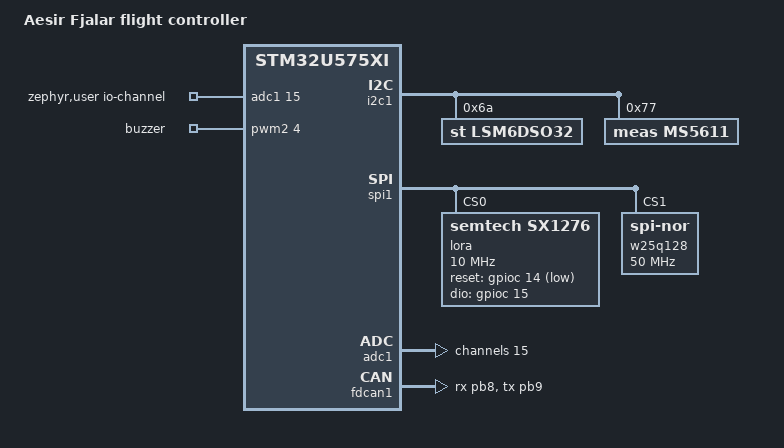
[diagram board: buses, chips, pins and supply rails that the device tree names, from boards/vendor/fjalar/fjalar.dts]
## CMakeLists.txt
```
cmake_minimum_required(VERSION 3.20.0)

set(BOARD_ROOT ${CMAKE_CURRENT_LIST_DIR})


if(TEST_BUILD)
    set(EXTRA_CONF_FILE ${CMAKE_CURRENT_LIST_DIR}/testing/preferences.conf)
else()
    set(EXTRA_CONF_FILE ${CMAKE_CURRENT_LIST_DIR}/preferences.conf)
endif()

list(APPEND EXTRA_ZEPHYR_MODULES
    ${CMAKE_CURRENT_SOURCE_DIR}/modules/dummysensor
    ${CMAKE_CURRENT_SOURCE_DIR}/modules/hilsensor
    ${CMAKE_CURRENT_SOURCE_DIR}/modules/ms5611
)

find_package(Zephyr REQUIRED HINTS $ENV{ZEPHYR_BASE})

project(fjalar)

add_subdirectory(../common ../build/common)

add_subdirectory(lib)

zephyr_include_directories(
  ${CMAKE_CURRENT_SOURCE_DIR}/src
  ${CMAKE_CURRENT_SOURCE_DIR}/src/external_communication
)

# main
target_sources(app PRIVATE
    src/flight_state.c
    src/sensors.c
    src/actuation.c
    src/filter.c
    src/aerodynamics.c
    src/init.c
    src/external_communication/com_master.c
    src/external_communication/com_can.c
    src/external_communication/com_flash.c
    src/external_communication/com_lora.c
    src/external_communication/com_uart.c
    src/external_communication/com_usb.c
)

if(TEST_BUILD)
    message(STATUS "Building test")
    target_sources(app PRIVATE
        testing/test_main.c
    )
else()
    message(STATUS "Building app")
    target_sources(app PRIVATE
        src/main.c
    )
endif()


target_link_libraries(app PRIVATE protocol)
target_link_libraries(app PRIVATE minmea)
```

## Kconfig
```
menu "Zephyr"
source "Kconfig.zephyr"
endmenu



# module = APP_SENSORS
# module-str = app_sensors
# source "subsys/logging/Kconfig.template.log_config"
```

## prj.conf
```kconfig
# CONFIG_THREAD_ANALYZER=y
# CONFIG_THREAD_ANALYZER_USE_PRINTK=y
# CONFIG_THREAD_NAME=y
# CONFIG_THREAD_ANALYZER_AUTO=y
# CONFIG_THREAD_ANALYZER_AUTO_INTERVAL=5

# --- Core console ---
CONFIG_CONSOLE=n
CONFIG_UART_CONSOLE=n
CONFIG_PRINTK=n

# --- Shell ---
CONFIG_SHELL=y
CONFIG_SHELL_BACKEND_SERIAL=y
CONFIG_SHELL_STACK_SIZE=4096

# --- Logging ---
CONFIG_LOG=n # when you don't want messages in picocom
CONFIG_LOG_DEFAULT_LEVEL=0
CONFIG_LOG_MODE_DEFERRED=y
CONFIG_LOG_BUFFER_SIZE=4096
CONFIG_LOG_BACKEND_UART=n     # ✅ REQUIRED
#CONFIG_LOG_BACKEND_USB_CDC_ACM=n not available for this version

# --- USB CDC ACM ---
CONFIG_USB_DEVICE_STACK=y
CONFIG_USB_CDC_ACM=y
CONFIG_USB_DEVICE_INITIALIZE_AT_BOOT=y
CONFIG_USB_DEVICE_LOG_LEVEL_OFF=y

# --- Recommended ---
CONFIG_SERIAL=y
CONFIG_UART_INTERRUPT_DRIVEN=y

CONFIG_ZSL=y
CONFIG_ZSL_SINGLE_PRECISION=y
CONFIG_ZSL_VECTOR_INLINE=y
CONFIG_ZSL_MATRIX_INLINE=y

CONFIG_DEBUG=y
CONFIG_DEBUG_OPTIMIZATIONS=y

CONFIG_ISR_STACK_SIZE=4096

CONFIG_CAN=y
CONFIG_CAN_FD_MODE=y

CONFIG_ZBUS=y
CONFIG_ZBUS_MSG_SUBSCRIBER=y

# I do not like heaps but idk
CONFIG_ZBUS_MSG_SUBSCRIBER_BUF_ALLOC_STATIC=y
CONFIG_ZBUS_MSG_SUBSCRIBER_NET_BUF_POOL_SIZE=32
CONFIG_ZBUS_MSG_SUBSCRIBER_NET_BUF_STATIC_DATA_SIZE=128

CONFIG_CRC=y

CONFIG_CPP=y

CONFIG_REQUIRES_FULL_LIBCPP=y

CONFIG_COMPILER_OPT="-Wno-double-promotion"

CONFIG_FLASH=y
CONFIG_FLASH_MAP=y
CONFIG_NVS=y
```

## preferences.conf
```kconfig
#CONFIG_BUZZER_ENABLED=n

#CONFIG_PROTOCOL_LOG_LEVEL_INF=y
#CONFIG_MINMEA_LOG_LEVEL_INF=y
#CONFIG_APP_ACTUATION_LOG_LEVEL_INF=y
#CONFIG_APP_FILTER_LOG_LEVEL_INF=y
#CONFIG_APP_FLIGHT_LOG_LEVEL_INF=y
#CONFIG_APP_MAIN_LOG_LEVEL_INF=y
#CONFIG_APP_SENSORS_LOG_LEVEL_INF=y
#CONFIG_APP_COMMUNICATION_LOG_LEVEL_INF=y
#CONFIG_APP_COMMANDS_LOG_LEVEL_INF=y
#CONFIG_APP_AERODYNAMICS_LOG_LEVEL_INF=y

#CONFIG_DUMMYSENSOR_AESIR=n
#CONFIG_DUMMYSENSOR_ASAT=y
#CONFIG_DUMMYSENSOR_ASTG=y
#CONFIG_DUMMYSENSOR_BRISTOL=y
#CONFIG_DUMMYSENSOR_FARADAY=y
#CONFIG_DUMMYSENSOR_RED=y
```

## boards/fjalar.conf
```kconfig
CONFIG_LOG=y
CONFIG_CBPRINTF_FP_SUPPORT=y

CONFIG_FPU=y
CONFIG_FPU_SHARING=y

CONFIG_SERIAL=y
# CONFIG_UART_INTERRUPT_DRIVEN=y
CONFIG_UART_WIDE_DATA=y
CONFIG_CONSOLE=y
CONFIG_UART_CONSOLE=y
CONFIG_POLL=y

CONFIG_I2C=y

CONFIG_GPIO=y

CONFIG_ADC=y

CONFIG_SENSOR=y
CONFIG_MS5611=y
# CONFIG_MS5607=y
# CONFIG_MS5607_PRES_OVER_2048X=y
# CONFIG_MS5607_TEMP_OVER_2048X=y

CONFIG_LSM6DSO=y

CONFIG_SPI=y
CONFIG_FLASH=y

CONFIG_PWM=y
CONFIG_LED=y

CONFIG_LORA=y
CONFIG_LORA_SX127X=y
CONFIG_LORA_LOG_LEVEL_DBG=y

CONFIG_NEWLIB_LIBC=y # for trigonometric functions

#CONFIG_BOOT_STATE_IDLE=y
#CONFIG_DELAYED_START=y

CONFIG_SENSOR=y

CONFIG_USB_DEVICE_STACK=y
CONFIG_USB_DEVICE_PRODUCT="Fjalar Log"
CONFIG_USB_DEVICE_PID=0x0004
CONFIG_USB_DEVICE_INITIALIZE_AT_BOOT=y
```

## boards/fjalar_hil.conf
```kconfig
CONFIG_LOG=y
CONFIG_CBPRINTF_FP_SUPPORT=y

CONFIG_FPU=y
CONFIG_FPU_SHARING=y

CONFIG_SERIAL=y
# CONFIG_UART_INTERRUPT_DRIVEN=y
CONFIG_UART_WIDE_DATA=y
CONFIG_CONSOLE=y
CONFIG_UART_CONSOLE=y
CONFIG_POLL=y

CONFIG_I2C=y

CONFIG_GPIO=y

CONFIG_ADC=y


CONFIG_SENSOR=y
CONFIG_HILSENSOR=y # enable hil

CONFIG_SPI=y
CONFIG_FLASH=y

CONFIG_PWM=y
CONFIG_LED=y

CONFIG_LORA=y
CONFIG_LORA_SX127X=y
CONFIG_LORA_LOG_LEVEL_DBG=y

CONFIG_NEWLIB_LIBC=y # for trigonometric functions

CONFIG_BOOT_STATE_IDLE=y
CONFIG_DELAYED_START=y

CONFIG_SENSOR=y

CONFIG_USB_DEVICE_STACK=y
CONFIG_USB_DEVICE_PRODUCT="Fjalar Log"
CONFIG_USB_DEVICE_PID=0x0004
CONFIG_USB_DEVICE_INITIALIZE_AT_BOOT=y
```

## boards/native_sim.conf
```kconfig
CONFIG_LOG=y
CONFIG_CBPRINTF_FP_SUPPORT=y

CONFIG_SERIAL=y
CONFIG_CONSOLE=y
CONFIG_UART_CONSOLE=y
CONFIG_POLL=y

CONFIG_GPIO=y

CONFIG_I2C=y

CONFIG_SENSOR=y

CONFIG_SPI=y
CONFIG_FLASH=y

CONFIG_DUMMYSENSOR=y
CONFIG_HILSENSOR=y
# CONFIG_PWM=y

CONFIG_UART_NATIVE_POSIX=y
CONFIG_UART_NATIVE_POSIX_PORT_1_ENABLE=y
# CONFIG_NATIVE_UART_1_ON_OWN_PTY=y

# CONFIG_NATIVE_UART_0_ON_OWN_PTY=y
# CONFIG_NATIVE_UART_0_ON_STDINOUT=y
CONFIG_SYS_CLOCK_TICKS_PER_SEC=1000

CONFIG_DEBUG=y
CONFIG_DEBUG_OPTIMIZATIONS=y

CONFIG_BOOT_STATE_LAUNCHPAD=y
# CONFIG_FUSE_FS_ACCESS=y

CONFIG_DELAYED_START=n

CONFIG_USB_DEVICE_STACK=y
CONFIG_USB_DEVICE_PRODUCT="Fjalar Log"
CONFIG_USB_DEVICE_PID=0x0004

CONFIG_FLASH_SIMULATOR=y

CONFIG_ASAN=y
CONFIG_UBSAN=y
```

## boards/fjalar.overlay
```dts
/ {
    chosen {
        zephyr,console = &cdc_acm_uart0;
        zephyr,shell-uart = &cdc_acm_uart0;
    };

    aliases {
		io-led = &ioled;
        imu = &lsm6dso32;
        barometer = &ms5611;
		main-usb = &usbotg_fs;
		pyro1 = &pyro1;
		pyro2 = &pyro2;
		pyro3 = &pyro3;
		pyro1-sense = &pyro1_sense;
		pyro2-sense = &pyro2_sense;
		pyro3-sense = &pyro3_sense;
        data-usb = &cdc_acm_uart1;
    };
};


&lsm6dso32 {
    gyro-odr = <4>; //104Hz
    accel-odr = <4>; //104Hz
    accel-range = <1>; //16g
    gyro-range = <6>; //2000dps
    accel-pm = <0>; //high performance
    gyro-pm = <0>; //high performance
};


&usbotg_fs {
    cdc_acm_uart0: cdc_acm_uart0 {
        compatible = "zephyr,cdc-acm-uart";
    };
    cdc_acm_uart1: cdc_acm_uart1 {
        compatible = "zephyr,cdc-acm-uart";
    };
};
```

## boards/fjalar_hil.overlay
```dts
/ {
    chosen {
    };

    aliases {
        //imu = &hilsensor0;
        //barometer = &hilsensor0;
        hilsensor = &hilsensor0; // no function
    };

    hilsensor0: hilsensor0 {
    compatible = "aesir,hilsensor";
    status = "okay";
    };
};
```

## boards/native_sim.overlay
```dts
/ {
    chosen {
        // zephyr,console = &uart0;
		// zephyr,shell-uart = &uart0;
    };
    aliases {
        imu = &dummysensor;
        barometer = &dummysensor;
        external-uart = &uart1;
        io-led = &ioled;
        main-usb = &zephyr_udc0;
        pyro1 = &pyro1;
        pyro2 = &pyro2;
        pyro3 = &pyro3;
        pyro1-sense = &pyro1_sense;
        pyro2-sense = &pyro2_sense;
        pyro3-sense = &pyro3_sense;
        // data-flash = &flashsim;
    };

    dummysensor: dummysensor {
        compatible = "aesir,hilsensor";
        status = "okay";
    };

    leds {
		compatible = "gpio-leds";
		ioled: io_led {
			gpios = <&gpio0 6 GPIO_ACTIVE_HIGH>;
		};
	};

    pyros {
        compatible = "gpio-leds";
        pyro1: pyro_1 {
            gpios = <&gpio0 13 GPIO_ACTIVE_HIGH>;
        };
        pyro2: pyro_2 {
            gpios = <&gpio0 12 GPIO_ACTIVE_HIGH>;
        };
        pyro3: pyro_3 {
            gpios = <&gpio0 2 GPIO_ACTIVE_HIGH>;
        };
    };

	pyro_sense {
		compatible = "gpio-keys";
		pyro1_sense: pyro1_sense {
			gpios = <&gpio0 8 GPIO_ACTIVE_LOW>;
		};
		pyro2_sense: pyro2_sense {
			gpios = <&gpio0 15 GPIO_ACTIVE_LOW>;
		};
		pyro3_sense: pyro3_sense {
			gpios = <&gpio0 2 GPIO_ACTIVE_LOW>;
		};
	};

    // flashsim: flashsim {
	// 	status = "okay";
	// 	compatible = "zephyr,sim-flash";
    //     erase-value = <0xff>;
	// 	// size = <0x8000000>;
	// };
};

&uart1 {
    status="okay";
};
```

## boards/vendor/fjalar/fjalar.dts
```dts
/dts-v1/;

#include <st/u5/stm32u575Xi.dtsi>
#include <st/u5/stm32u575zitxq-pinctrl.dtsi>
#include "fjalar.dtsi"

/ {

    model = "Aesir Fjalar flight controller";
	compatible = "aesir,fjalar";

	#address-cells = <1>;
	#size-cells = <1>;

	chosen {
		zephyr,console = &uart4;
		zephyr,shell-uart = &uart4;
		zephyr,sram = &sram0;
		zephyr,flash = &flash0;
		zephyr,canbus = &fdcan1;
	};

    aliases {
		led0 = &ioled;
		external-uart = &uart4;
		data-flash = &w25q128;
		gps-uart = &usart1;
		buzzer = &buzzer;
		lora = &lora;
		canbus = &fdcan1;
	};

	zephyr,user {
		battery-denominator = <2200>;
		battery-numerator = <12200>;
		io-channels = <&adc1 15>;
	};

	pwmleds: pwmleds {
		compatible = "pwm-leds";
		status = "okay";

		buzzer: buzzer {
			pwms = <&pwm2 4 PWM_MSEC(20) PWM_POLARITY_NORMAL>;
		};
	};
};

&i2c1 {
	lsm6dso32: lsm6dso32@6a {
		status = "okay";
		compatible = "st,lsm6dso32";
		reg = <0x6a>;
	};

	ms5611: ms5611@77 {
		status = "okay";
		compatible = "meas,ms5611";
		reg = <0x77>;
	};
};

&spi1 {
	lora: lora@0 {
		compatible ="semtech,sx1276";
		reg = <0>;
		spi-max-frequency = <10000000>;
		status = "okay";
		reset-gpios = <&gpioc 14 GPIO_ACTIVE_LOW>;
		dio-gpios = <&gpioc 15 GPIO_ACTIVE_HIGH>;
		power-amplifier-output = "pa-boost";
	};

	w25q128: w25q128@1 {
		compatible ="jedec,spi-nor";
		size = <0x8000000>;
		reg = <1>;
		spi-max-frequency = <50000000>;
		status = "okay";
		jedec-id = [ef 70 18];
	};
};

&adc1 {
	#address-cells = <1>;
	#size-cells = <0>;
	status = "okay";
	st,adc-prescaler = <1>;

	channel@F {
		reg = <15>; //15
		zephyr,gain = "ADC_GAIN_1";
		zephyr,reference = "ADC_REF_INTERNAL";
		zephyr,acquisition-time = <ADC_ACQ_TIME_DEFAULT>;
		zephyr,resolution = <14>;
		zephyr,oversampling = <4>;
		status = "okay";
	};
};

&fdcan1 {
    status = "okay";
    pinctrl-0 = <&fdcan1_rx_pb8 &fdcan1_tx_pb9>;
    pinctrl-names = "default"; 
    clocks      = <
        &rcc STM32_CLOCK_BUS_APB1_2  0x00000200
        &rcc STM32_SRC_PLL1_Q        FDCAN1_SEL(1)
    >;
    clock-names = "apb1", "fck";
};
```

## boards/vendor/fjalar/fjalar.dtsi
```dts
#include <st/u5/stm32u575Xi.dtsi>
#include <st/u5/stm32u575zitxq-pinctrl.dtsi>

/ {
	leds {
		compatible = "gpio-leds";
		ioled: io_led {
			gpios = <&gpioa 6 GPIO_ACTIVE_HIGH>;
		};
	};

    pyros {
        compatible = "gpio-leds";
        pyro1: pyro_1 {
            gpios = <&gpiob 2 GPIO_ACTIVE_HIGH>;
        };
        pyro2: pyro_2 {
            gpios = <&gpiob 12 GPIO_ACTIVE_HIGH>;
        };
        pyro3: pyro_3 {
            gpios = <&gpiob 13 GPIO_ACTIVE_HIGH>;
        };
    };

	pyro_sense {
		compatible = "gpio-keys";
		pyro1_sense: pyro1_sense {
			gpios = <&gpioa 2 GPIO_ACTIVE_LOW>;
		};
		pyro2_sense: pyro2_sense {
			gpios = <&gpiob 15 GPIO_ACTIVE_LOW>;
		};
		pyro3_sense: pyro3_sense {
			gpios = <&gpioa 8 GPIO_ACTIVE_LOW>;
		};
	};
};

&usbotg_fs {
	pinctrl-0 = <&usb_otg_fs_dm_pa11 &usb_otg_fs_dp_pa12>;
	pinctrl-names = "default";
	status = "okay";
};

&usart1 {
	pinctrl-0 = <&usart1_tx_pa9 &usart1_rx_pa10>;
	pinctrl-names = "default";
	current-speed = <9600>;
	status = "okay";
};

&gpdma1 {
	status = "okay";
};

&clk_hse {
	status = "okay";
	clock-frequency = <DT_FREQ_M(48)>;
};

&clk_hsi48 {
	status = "okay";
};

&clk_lse {
	status = "disabled";
};

&clk_msis {
	status = "okay";
	msi-range = <4>;
	msi-pll-mode;
};

&pll1 {
	div-m = <3>;
	mul-n = <10>;
	div-r = <1>;
	div-q = <2>;
	clocks = <&clk_hse>;
	status = "okay";
};

&rcc {
	clocks = <&pll1>;
	clock-frequency = <DT_FREQ_M(160)>;
	ahb-prescaler = <1>;
	apb1-prescaler = <1>;
	apb2-prescaler = <1>;
	apb3-prescaler = <1>;
};

&uart4 {
    pinctrl-0 = <&uart4_tx_pa0 &uart4_rx_pa1>;
	pinctrl-names = "default";
	current-speed = <115200>;
	status = "okay";
};

&i2c1 {
	pinctrl-0 = <&i2c1_scl_pb6 &i2c1_sda_pb7>;
	pinctrl-names = "default";
	status = "okay";
	clock-frequency = <I2C_BITRATE_FAST>;
};

&i2c2 {
	pinctrl-0 = <&i2c2_scl_pb10 &i2c2_sda_pb14>;
	pinctrl-names = "default";
	status = "okay";
	clock-frequency = <I2C_BITRATE_FAST>;
};

&spi1 {
	pinctrl-0 = <&spi1_sck_pb3
			&spi1_miso_pb4 &spi1_mosi_pb5>;
	pinctrl-names = "default";
	cs-gpios = <&gpioc 13 GPIO_ACTIVE_LOW>, <&gpioa 15 GPIO_ACTIVE_LOW>;
	clock-frequency = <50000000>;
	status = "okay";
};

&adc1 {
	pinctrl-0 = <&adc1_in15_pb0>;
	pinctrl-names = "default";
};

&timers2 {
	st,prescaler = <1000>;
	status = "okay";

	pwm2: pwm {
		status = "okay";
		pinctrl-0 = <&tim2_ch4_pa3>;
		pinctrl-names = "default";
	};
};

&iwdg {
	status = "okay";
};

&rng {
	status = "okay";
};

&fdcan1 {
	clocks = <&rcc STM32_CLOCK_BUS_APB1_2 0x00000200>,
		 <&rcc STM32_SRC_PLL1_Q FDCAN1_SEL(1)>;
	pinctrl-0 = <&fdcan1_rx_pb8 &fdcan1_tx_pb9>;
	pinctrl-names = "default";
	status = "okay";
};
```

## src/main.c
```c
/*
This is the main script, its purpose is to:
1) Declare the structures which will be used to store information throughout the script.
2) Initiate the different scripts by starting their threads and distributing their structure pointers through the god struct (fjalar).
*/

#include <zephyr/kernel.h>
#include <zephyr/drivers/gpio.h>
#include <zephyr/drivers/uart.h>
#include <zephyr/logging/log.h>
#include <zephyr/drivers/sensor.h>
#include <stdio.h>
#include <math.h>

#include "fjalar.h"
#include "sensors.h"
#include "flight_state.h"
#include "com_master.h"
#include "actuation.h"
#include "init.h"
#include "aerodynamics.h"
#include "flight_state.h"
#include "com_can.h"
#include "com_lora.h"

LOG_MODULE_REGISTER(main, LOG_LEVEL_INF);

static init_t            init_obj;
static position_filter_t position_filter_obj;
static attitude_filter_t attitude_filter_obj;
static aerodynamics_t    aerodynamics_obj;
static state_t           state_obj; 
//static control_t		 control_obj; //Delete
static state_t           state_obj;  
static can_t			 can_obj;
static lora_t			 lora_obj;

fjalar_t fjalar_god = {
	.ptr_init         = &init_obj,
	.ptr_pos_kf       = &position_filter_obj,
	.ptr_att_kf       = &attitude_filter_obj,
	.ptr_aerodynamics = &aerodynamics_obj,
	.ptr_state        = &state_obj,
	//.ptr_control	  = &control_obj, //Delete
	.ptr_can	      = &can_obj,
	.ptr_lora		  = &lora_obj,
};

int main(void) {
	#ifdef CONFIG_DELAYED_START
	const int delay = 5;
	for (int i = 0; i < delay; i++) {
		printk("%d\n", delay - i);
		k_msleep(1000);
	}
	#endif
	printk("Started\n");

	fjalar_god.sudo = false;
	init_flight_state(&fjalar_god);
	init_communication(&fjalar_god);
	init_actuation(&fjalar_god);
	init_can(&fjalar_god);
	return 0;
}
```

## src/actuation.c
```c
/*
This is the actuation script, its purpose is to:
1) Control hardware such as buzzer and led. One can, if he has the humour for it, play a little song on Fjalar.
*/
#include <zephyr/kernel.h>
#include <zephyr/logging/log.h>
#include <zephyr/drivers/gpio.h>
#include <zephyr/drivers/pwm.h>
#include <math.h>
#include <stdlib.h>

#include "fjalar.h"
#include "melodies.h"
#include "flight_state.h"

LOG_MODULE_REGISTER(actuation, LOG_LEVEL_INF); //Logging

#define LED_THREAD_PRIORITY 7
#define LED_THREAD_STACK_SIZE 2048

#define BUZZER_THREAD_PRIORITY 7
#define BUZZER_THREAD_STACK_SIZE 2048

#define PYRO_THREAD_PRIORITY 7
#define PYRO_THREAD_STACK_SIZE 2048

K_THREAD_STACK_DEFINE(led_thread_stack, LED_THREAD_STACK_SIZE);
struct k_thread led_thread_data;
k_tid_t led_thread_id;
void led_thread(fjalar_t *fjalar, void *, void *);

K_THREAD_STACK_DEFINE(buzzer_thread_stack, BUZZER_THREAD_STACK_SIZE);
struct k_thread buzzer_thread_data;
k_tid_t buzzer_thread_id;
void buzzer_thread(fjalar_t *fjalar, state_t *state, void *);

K_THREAD_STACK_DEFINE(pyro_thread_stack, PYRO_THREAD_STACK_SIZE);
struct k_thread pyro_thread_data;
k_tid_t pyro_thread_id;
void pyro_thread(fjalar_t *fjalar, void *, void *);

volatile bool terminate_actuation =false;

void init_actuation(fjalar_t *fjalar) {
    terminate_actuation = false;
    led_thread_id = k_thread_create(
		&led_thread_data,
		led_thread_stack,
		K_THREAD_STACK_SIZEOF(led_thread_stack),
		(k_thread_entry_t) led_thread,
		fjalar, NULL, NULL,
		LED_THREAD_PRIORITY, 0, K_NO_WAIT
	);
	k_thread_name_set(led_thread_id, "led");

    pyro_thread_id = k_thread_create(
		&pyro_thread_data,
		pyro_thread_stack,
		K_THREAD_STACK_SIZEOF(pyro_thread_stack),
		(k_thread_entry_t) pyro_thread,
		fjalar, NULL, NULL,
		PYRO_THREAD_PRIORITY, 0, K_NO_WAIT
	);
	k_thread_name_set(pyro_thread_id, "pyro");

	#if DT_ALIAS_EXISTS(buzzer)
    buzzer_thread_id = k_thread_create(
		&buzzer_thread_data,
		buzzer_thread_stack,
		K_THREAD_STACK_SIZEOF(buzzer_thread_stack),
		(k_thread_entry_t) buzzer_thread,
		fjalar, fjalar->ptr_state, NULL,
		BUZZER_THREAD_PRIORITY, 0, K_NO_WAIT
	);
	k_thread_name_set(buzzer_thread_id, "buzzer");
	#endif
}

int deinit_actuation() {
    terminate_actuation = true;
    int e;
    e = k_thread_join(&led_thread_data, K_MSEC(1000));
    e |= k_thread_join(&pyro_thread_data, K_MSEC(1000));
    e |= k_thread_join(&buzzer_thread_data, K_MSEC(1000));
}

void led_thread(fjalar_t *fjalar, void *p2, void *p3) {
    const struct gpio_dt_spec io_led_dt = GPIO_DT_SPEC_GET(DT_ALIAS(io_led), gpios);
    int ret = 0;
    ret |= gpio_pin_configure_dt(&io_led_dt, GPIO_OUTPUT_ACTIVE);
    if (ret) {
        LOG_ERR("Could not configure the IO-led");
    }

    while (true) {
        gpio_pin_toggle_dt(&io_led_dt);
        k_msleep(1000);
    }
}

void set_pyro(fjalar_t *fjalar, int pyro, bool state) {
    switch (pyro) {
        case 1: // Drouge parachute
            const struct gpio_dt_spec pyro1_dt = GPIO_DT_SPEC_GET(DT_ALIAS(pyro1), gpios);
            gpio_pin_set_dt(&pyro1_dt, state);
            break;

        case 2: // Main parachute
            const struct gpio_dt_spec pyro2_dt = GPIO_DT_SPEC_GET(DT_ALIAS(pyro2), gpios);
            gpio_pin_set_dt(&pyro2_dt, state);
            break;

        case 3:
            const struct gpio_dt_spec pyro3_dt = GPIO_DT_SPEC_GET(DT_ALIAS(pyro3), gpios);
            gpio_pin_set_dt(&pyro3_dt, state);
            break;
        default:
            LOG_ERR("tried to enable invalid pyro %d", pyro);
    }
}

void pyro_thread(fjalar_t *fjalar, void *p2, void *p3) {
    const struct gpio_dt_spec pyro1_dt = GPIO_DT_SPEC_GET(DT_ALIAS(pyro1), gpios);
    const struct gpio_dt_spec pyro2_dt = GPIO_DT_SPEC_GET(DT_ALIAS(pyro2), gpios);
    const struct gpio_dt_spec pyro3_dt = GPIO_DT_SPEC_GET(DT_ALIAS(pyro3), gpios);
    const struct gpio_dt_spec pyro1_sense_dt = GPIO_DT_SPEC_GET(DT_ALIAS(pyro1_sense), gpios);
    const struct gpio_dt_spec pyro2_sense_dt = GPIO_DT_SPEC_GET(DT_ALIAS(pyro2_sense), gpios);
    const struct gpio_dt_spec pyro3_sense_dt = GPIO_DT_SPEC_GET(DT_ALIAS(pyro3_sense), gpios);

    int ret = 0;
    ret |= gpio_pin_set_dt(&pyro1_dt, 0);
    ret |= gpio_pin_set_dt(&pyro2_dt, 0);
    ret |= gpio_pin_set_dt(&pyro3_dt, 0);
    ret |= gpio_pin_configure_dt(&pyro1_dt, GPIO_OUTPUT_INACTIVE); // dangerous (ACTIVE), i switched it to inactive
    ret |= gpio_pin_configure_dt(&pyro2_dt, GPIO_OUTPUT_INACTIVE); // dangerous (ACTIVE)?
    ret |= gpio_pin_configure_dt(&pyro3_dt, GPIO_OUTPUT_INACTIVE); // dangerous (ACTIVE)?
    ret |= gpio_pin_set_dt(&pyro1_dt, 0);
    ret |= gpio_pin_set_dt(&pyro2_dt, 0);
    ret |= gpio_pin_set_dt(&pyro3_dt, 0);

    ret |= gpio_pin_configure_dt(&pyro1_sense_dt, GPIO_INPUT);
    ret |= gpio_pin_configure_dt(&pyro2_sense_dt, GPIO_INPUT);
    ret |= gpio_pin_configure_dt(&pyro3_sense_dt, GPIO_INPUT);
    if (ret) {
        LOG_ERR("Could not configure pyro pins");
    }

    while (true) {
        fjalar->pyro1_sense = gpio_pin_get_dt(&pyro1_sense_dt);
        fjalar->pyro2_sense = gpio_pin_get_dt(&pyro2_sense_dt);
        fjalar->pyro3_sense = gpio_pin_get_dt(&pyro3_sense_dt);
        LOG_INF("pyros connected p1:%d p2:%d p3:%d", fjalar->pyro1_sense, fjalar->pyro2_sense, fjalar->pyro3_sense);
        k_msleep(500);
    }
}


void play_song(const struct pwm_dt_spec *buzzer_dt, int melody[], int size, int tempo) {
        int notes=size/sizeof(melody[0])/2;
        int wholenote = (60000 * 4) / tempo;

        int divider = 0, noteDuration = 0;

        for (int thisNote = 0; thisNote < notes * 2; thisNote = thisNote + 2) {
            divider = melody[thisNote + 1];
            if (divider > 0) {
            noteDuration = (wholenote) / divider;
            } else if (divider < 0) {
            noteDuration = (wholenote) / abs(divider);
            noteDuration *= 1.5; // increases the duration in half for dotted notes
            }

            int period = 1e9 / melody[thisNote];
            pwm_set_dt(buzzer_dt, period, period / 2);
            k_msleep(noteDuration * 0.9);
            pwm_set_dt(buzzer_dt, period, 0);
            k_msleep(noteDuration * 0.1);
        }
        k_msleep(1000);
}

#if DT_ALIAS_EXISTS(buzzer)
void buzzer_thread(fjalar_t *fjalar, state_t *state, void *p3) {
    #if !CONFIG_BUZZER_ENABLED
    LOG_INF("Buzzer disabled");
    return;
    #endif
    int err;
    const struct pwm_dt_spec buzzer_dt = PWM_DT_SPEC_GET(DT_ALIAS(buzzer));
    if (!device_is_ready(buzzer_dt.dev)) {
        LOG_ERR("buzzer is not ready");
        return;
    }

    uint32_t center_period = 1e9 / 2000;
    err = pwm_set_dt(&buzzer_dt, center_period, 0);
    if (err) {
        LOG_ERR("Could not set buzzer");
    }

    while (true) {
        if (fjalar->sudo) {
                play_song(&buzzer_dt, doom_melody, sizeof(doom_melody), doom_tempo);
                k_msleep(1000);
                continue;
        }
        switch (state->flight_state) {
            case STATE_LANDED:
                play_song(&buzzer_dt, nokia_melody, sizeof(nokia_melody), nokia_tempo);
                k_msleep(1000);
                break;

            case STATE_IDLE:
                play_song(&buzzer_dt, greensleeves_melody, sizeof(greensleeves_melody), greensleeves_tempo);
                k_msleep(1000);
                break;

            case STATE_INITIATED:
                play_song(&buzzer_dt, keyboardcat_melody, sizeof(keyboardcat_melody), keyboardcat_tempo);
                k_msleep(1000);
                break;

            default:
                err = pwm_set_dt(&buzzer_dt, center_period, center_period / 2);
                k_msleep(100);
                err = pwm_set_dt(&buzzer_dt, center_period, 0);
                k_msleep(100);
                err = pwm_set_dt(&buzzer_dt, center_period, center_period / 2);
                k_msleep(100);
                err = pwm_set_dt(&buzzer_dt, center_period, 0);
                k_msleep(1500);
        }
    }
}
#endif
```

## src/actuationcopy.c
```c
//Change drogue state to reefed state. Deploy the main (the only parachute)
//at some specific altitude, e.g., 500 m.  
//Replace DROGUE_DESCENT with REEFED_DESCENT and switch the order of main and reefed. 
   /* ------------------------------ STATE_COAST -------------------------- */
    case STATE_COAST:
        /*
        Detect apogee: upward velocity transitions to negative.
        This is the most reliable trigger for drogue deployment.
        */
        if (vz < 0) {
            state->apogee_time = k_uptime_get_32();
            deploy_main(fjalar, init, state, pos_kf);
            state->flight_state = STATE_MAIN_DESCENT;
            state->event_apogee = true;

            LOG_WRN("State: COAST → MAIN_DESCENT (apogee detected)");
        }
        break;

    /* --------------------------- STATE_DROGUE_DESCENT -------------------- */
    case STATE_MAIN_DESCENT:
        /*
        Deploy main parachute at a safe altitude threshold.
        */
        if (z < 500) {
            deploy_reefing(fjalar, init, state, pos_kf);
            state->flight_state = STATE_REEFED_DESCENT;
            LOG_WRN("State: MAIN_DESCENT → REEFED_DESCENT (500 m AGL)");
        }
        break;

    /* --------------------------- STATE_MAIN_DESCENT ---------------------- */
    case STATE_REEFED_DESCENT:
        /*
        Detect landing by checking if acceleration ~ 1 g and movement is minimal.
        This is approximate but usually reliable with filtered acceleration.
        */
        if (a_norm > init->g_accelerometer - 2 &&
            a_norm < init->g_accelerometer + 2)
        {
            state->flight_state = STATE_LANDED;
            state->event_landed = true;
            LOG_WRN("State: REEFED_DESCENT → LANDED (acceleration stable ~1g)");
        }
        break;




    static void deploy_main(fjalar_t *fjalar, init_t *init, state_t *state, position_filter_t *pos_kf) {
    set_pyro(fjalar, 2, true);  // 2 = main chute pyro channel
    LOG_WRN("Constricted parachute deployed at %.2f m", pos_kf->X_data[2]);

    //Must change the deploy_drogue function to deploy_reefing
    static void deploy_reefing(fjalar_t *fjalar, init_t *init, state_t *state, position_filter_t *pos_kf) { 
    set_pyro(fjalar, 1, true);  // 1 = drogue chute pyro channel
    LOG_WRN("Full parachute deployed at %.2f m %.2f s",
            pos_kf->X_data[2],                                  // altitude
            (state->apogee_time - state->liftoff_time) / 1000.0f);
}












//Option 1: Deploy main at apogee. This requires STATE_DROGUE_DESCENT to be remove in flight_state.h
/* ------------------------------ STATE_COAST -------------------------- */
    case STATE_COAST:
        /*
        Detect apogee: upward velocity transitions to negative.
        This is the most reliable trigger for drogue deployment.
        */
        if (vz < 0) {
            state->apogee_time = k_uptime_get_32();
            deploy_main(fjalar, init, state, pos_kf);
            state->flight_state = STATE_MAIN_DESCENT;
            state->event_apogee = true;

            LOG_WRN("State: COAST → MAIN_DESCENT (apogee detected)");
        }
        break;

    /* --------------------------- STATE_MAIN_DESCENT ---------------------- */
    case STATE_MAIN_DESCENT:
        /*
        Detect landing by checking if acceleration ~ 1 g and movement is minimal.
        This is approximate but usually reliable with filtered acceleration.
        */
        if (a_norm > init->g_accelerometer - 2 &&
            a_norm < init->g_accelerometer + 2)
        {
            state->flight_state = STATE_LANDED;
            state->event_landed = true;
            LOG_WRN("State: MAIN_DESCENT → LANDED (acceleration stable ~1g)");
        }
        break;

//Option 2: Keep drogue state. Just remove parachute deployment. Deploy the main (the only parachute)
//at some specific altitude, e.g., 500 m.  
   /* ------------------------------ STATE_COAST -------------------------- */
    case STATE_COAST:
        /*
        Detect apogee: upward velocity transitions to negative.
        This is the most reliable trigger for drogue deployment.
        */
        if (vz < 0) {
            state->apogee_time = k_uptime_get_32();
            state->flight_state = STATE_DROGUE_DESCENT;
            state->event_apogee = true;

            LOG_WRN("State: COAST → DROGUE_DESCENT (apogee detected)");
        }
        break;

    /* --------------------------- STATE_DROGUE_DESCENT -------------------- */
    case STATE_DROGUE_DESCENT:
        /*
        Deploy main parachute at a safe altitude threshold.
        */
        if (z < 500) {
            deploy_main(fjalar, init, state, pos_kf);
            state->flight_state = STATE_MAIN_DESCENT;
            LOG_WRN("State: DROGUE_DESCENT → MAIN_DESCENT (500 m AGL)");
        }
        break;

    /* --------------------------- STATE_MAIN_DESCENT ---------------------- */
    case STATE_MAIN_DESCENT:
        /*
        Detect landing by checking if acceleration ~ 1 g and movement is minimal.
        This is approximate but usually reliable with filtered acceleration.
        */
        if (a_norm > init->g_accelerometer - 2 &&
            a_norm < init->g_accelerometer + 2)
        {
            state->flight_state = STATE_LANDED;
            state->event_landed = true;
            LOG_WRN("State: MAIN_DESCENT → LANDED (acceleration stable ~1g)");
        }
        break;

//Option 3: Remove drogue state. Deploy the main (the only parachute) at some specific altitude, e.g., 500 m.
//This requires STATE_DROGUE_DESCENT to be remove in flight_state.h. 
   /* ------------------------------ STATE_COAST -------------------------- */
    case STATE_COAST:
        /*
        Detect apogee: upward velocity transitions to negative.
        This is the most reliable trigger for drogue deployment.
        */
        if (vz < 0) {
            state->apogee_time = k_uptime_get_32();
            state->event_apogee = true;
            LOG_WRN("Apogee dected");
        }


        if (vz < 0 && z < 500) {
            deploy_main(fjalar, init, state, pos_kf);
            state->flight_state = STATE_MAIN_DESCENT;
            LOG_WRN("State: COAST → MAIN_DESCENT");
        }
        break;
    /* --------------------------- STATE_MAIN_DESCENT ---------------------- */
    case STATE_MAIN_DESCENT:
        /*
        Detect landing by checking if acceleration ~ 1 g and movement is minimal.
        This is approximate but usually reliable with filtered acceleration.
        */
        if (a_norm > init->g_accelerometer - 2 &&
            a_norm < init->g_accelerometer + 2)
        {
            state->flight_state = STATE_LANDED;
            state->event_landed = true;
            LOG_WRN("State: MAIN_DESCENT → LANDED (acceleration stable ~1g)");
        }
        break;
```

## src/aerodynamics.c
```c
/*
This is the aerodynamics script, its purpose is to:
1) Given the state estimate and the flight state, perform analysis related to aerodynamics such as finding out expected apogee,
then save this in its struct to be used by other scripts.
The aerodynamic constants are rocket specific, it is critical that these are looked over carefully before each launch.
*/

#include <zephyr/kernel.h>
#include <zephyr/drivers/sensor.h>
#include <pla.h>
#include <zephyr/logging/log.h>
#include <zephyr/zbus/zbus.h>
#include <math.h>

#include "fjalar.h"
#include "sensors.h"
#include "init.h"
#include "filter.h"
#include "aerodynamics.h"
#include "flight_state.h"

LOG_MODULE_REGISTER(aerodynamics, LOG_LEVEL_INF);

#define AERODYNAMICS_THREAD_PRIORITY 7
#define AERODYNAMICS_THREAD_STACK_SIZE 4096

void aerodynamics_thread(fjalar_t *fjalar, void *p2, void *p1);
ZBUS_CHAN_DEFINE(aero_chan,                          /* Name */
                 struct aerodynamics_output_msg,     /* Message type */
                 NULL,                               /* Validator */
                 NULL,                               /* User Data */
                 ZBUS_OBS_DECLARE(),                 /* Observers (can be empty if using read) */
                 ZBUS_MSG_INIT(0)                    /* Initial Value */
);
K_THREAD_STACK_DEFINE(aerodynamics_thread_stack, AERODYNAMICS_THREAD_STACK_SIZE);
struct k_thread aerodynamics_thread_data;
k_tid_t aerodynamics_thread_id;


void init_aerodynamics(fjalar_t *fjalar) {
    aerodynamics_thread_id = k_thread_create(
		&aerodynamics_thread_data,
		aerodynamics_thread_stack,
		K_THREAD_STACK_SIZEOF(aerodynamics_thread_stack),
		(k_thread_entry_t) aerodynamics_thread,
		fjalar, NULL, NULL,
		AERODYNAMICS_THREAD_PRIORITY, 0, K_NO_WAIT
	);
	k_thread_name_set(aerodynamics_thread_id, "aerodynamics");
}


// might come in handy in future
/*
float pressure_to_AGL(position_filter_t *pos_kf, aerodynamics_t *aerodynamics, float pressure){
    const float p0 = init->pressure_ground;
    const float T0 = 288.15f;
    const float L  = 0.0065f;
    const float g = 9.81f;
    const float R = 287.05f;

    float AGL = (T0/L) * (1-powf(pressure / p0, R * L / g));
    return AGL;
}
*/

void drag_init(struct aerodynamics_output_msg *aerodynamics){
    float drag_init[3] = {0,0,0};
    memcpy(aerodynamics->drag.data, aerodynamics->drag_data, sizeof(aerodynamics->drag_data));
    aerodynamics->drag.sz_rows = 3;
    aerodynamics->drag.sz_cols = 1;
    memcpy(aerodynamics->drag_data, drag_init, sizeof(drag_init));
}

void drag_update(struct filter_output_msg *filter_data, struct aerodynamics_output_msg *aerodynamics){
    // velocity norm
    ZSL_MATRIX_DEF(v, 3, 1);
    v.data[0] = filter_data->velocity[0];
	v.data[1] = filter_data->velocity[1];
	v.data[2] = filter_data->velocity[2];
    float v_norm = filter_data->v_norm;

    if (v_norm > 1e-6f){

        // velocity unit vector
        ZSL_MATRIX_DEF(v_unit, 3, 1);
        zsl_mtx_copy(&v_unit, &v);
        zsl_mtx_scalar_mult_d(&v_unit, 1.0f/v_norm);

        // air density
        float z = filter_data->position[2];
        float rho = air_density_at(z);

        // drag coefficient
        float c_d;
        if (v_norm>5){c_d = cd_at(v_norm);} // TODO: implement angle dependent drag coeff!
        else{c_d = 0.44;}

        // rotational matrix
        float phi   = filter_data->attitude[0];  // roll
		float theta = filter_data->attitude[1];  // pitch
		float psi   = filter_data->attitude[2];  // yaw


        float sp = sinf(phi), cp = cosf(phi);
        float st = sinf(theta), ct = cosf(theta);
        float ss = sinf(psi),  cs = cosf(psi);

        float rotation_data[9] = {
            ct*cs, sp*st*cs - cp*ss, cp*st*cs + sp*ss,
            ct*ss, sp*st*ss + cp*cs, cp*st*ss - sp*cs,
            -st, sp*ct, cp*ct
        };
        struct zsl_mtx rotation = {
            .sz_rows = 3,
            .sz_cols = 3,
            .data = rotation_data
        };

        // scalar part
        float drag_norm = -(0.5/MASS_DRY)*rho*AREA*v_norm*v_norm*c_d;
        aerodynamics->drag_norm = drag_norm;

        // vector part
        ZSL_MATRIX_DEF(drag_vec, 3, 1);
        zsl_mtx_mult(&rotation, &v_unit, &drag_vec);

        // drag vector
        zsl_mtx_scalar_mult_d(&drag_vec, drag_norm);

		memcpy(aerodynamics->drag_data, drag_vec.data, sizeof(aerodynamics->drag_data));
        aerodynamics->drag.sz_rows = 3;
        aerodynamics->drag.sz_cols = 1;
    } else{
    	aerodynamics->drag_norm = 0.0f;
    	aerodynamics->drag_data[0] = aerodynamics->drag_data[1] = aerodynamics->drag_data[2] = 0.0f;
	}
}

void update_thrust(struct filter_output_msg *filter_data, struct aerodynamics_output_msg *aerodynamics, struct flight_state_output_msg state_data){ // will only be correct if run during flight, not before launch

    float N; // normal force induced acceleration
    if (state_data.flight_state == STATE_INITIATED){
        N = aerodynamics->g_physics;
    } else{N = 0;}
    float g = -(aerodynamics->g_physics); // gravitational acceleration
    float D = aerodynamics->drag_norm; // drag acceleration
    float T = 0.0f; // Thrust
    float total_acceleration = filter_data->a_norm;

    if (state_data.flight_state == STATE_INITIATED){
        T = total_acceleration - N;
    }
    if (state_data.flight_state == STATE_BOOST || state_data.flight_state == STATE_COAST){
        T = total_acceleration - g - D;
    }

    if (fabsf(T)>3){
        aerodynamics->thrust_bool = 1; // thrust exists
    } else{
        aerodynamics->thrust_bool = 0; // thrust does not exist
    }
}

void update_apogee_estimate(struct filter_output_msg *filter_data, struct aerodynamics_output_msg *aerodynamics){
    // get data 
    float dt   = 0.01;
    // float a_z0  = filter_data->acceleration[2]; unused

    float x    = filter_data->position[0];
    float y    = filter_data->position[1];
    float z    = filter_data->position[2];
    float xy   = sqrtf(x*x + y*y);

    float v_x  = filter_data->velocity[0];
    float v_y  = filter_data->velocity[1];
    float v_z  = filter_data->velocity[2];
    float v_xy = sqrtf(v_x*v_x + v_y*v_y);

    float a_xy;
    float a_z;

    while (v_z>0){
        // get info
        float v_total = sqrtf((v_xy*v_xy)+(v_z*v_z));
        float c_d;
        float a_drag;

        if (v_total>5){c_d = cd_at(v_total);} 
        else{c_d = 0.44;}

        a_drag = - (air_density_at(z)*c_d*AREA*v_total*v_total) / (2*MASS_DRY); 
        
        float c_b = air_density_at(z)*v_total*v_total / (2*fabsf(a_drag));


        a_xy  = 0.0f;
        a_z   = -GRAVITY-(air_density_at(z)*(v_z*v_z))/(2*c_b);

        v_xy += dt * a_xy;
        v_z  += dt * a_z;

        xy   += dt * v_xy;
        z    += dt * v_z;
    }
    aerodynamics->expected_apogee = z;

}

void update_mach_number(struct filter_output_msg *filter_data, struct aerodynamics_output_msg *aerodynamics){
    float v_sound = sqrtf(aerodynamics->specific_gas_constant_air * aerodynamics->heat_capacity_ratio_air * aerodynamics->temperature_kelvin);
    aerodynamics->v_sound = v_sound;

    float mach_number = (filter_data->v_norm)/v_sound;
    aerodynamics->mach_number = mach_number;
}


void aerodynamics_thread(fjalar_t *fjalar, void *p2, void *p1) {
	struct filter_output_msg filter_data;
	struct flight_state_output_msg state_data = { .flight_state = STATE_IDLE }; // Initialize with default

    // Initialize aerodynamics message with constants
    struct aerodynamics_output_msg aero_msg = {
        .timestamp = 0,
        .drag_norm = 0.0f,
        .expected_apogee = 0.0f,
        .thrust_bool = 0,
        .g_physics = 9.81f,
        .specific_gas_constant_air = 287.0f, // J/(kg*K)
        .heat_capacity_ratio_air = 1.4f,
        .temperature_kelvin = 273.15f + 15.0f,
        .mach_number = 0.0f,
        .v_sound = 0.0f
    };

    drag_init(&aero_msg);
    while (true){

		if (zbus_chan_read(&filter_output_zchan, &filter_data, K_FOREVER) == 0) {
			zbus_chan_read(&flight_state_output_zchan, &state_data, K_NO_WAIT);
    		// got new data
			aero_msg.timestamp = k_uptime_get_32();

        	update_mach_number(&filter_data, &aero_msg);

        	drag_update(&filter_data, &aero_msg); // needs to be updated at all states due to logic in update_thrust

			if (state_data.flight_state != STATE_IDLE && state_data.flight_state != STATE_AWAITING_INIT){
            	update_thrust(&filter_data, &aero_msg, state_data);
        	}
        	if (state_data.flight_state == STATE_COAST){ // only run when thrust is not active
            	update_apogee_estimate(&filter_data, &aero_msg);
        	} else{aero_msg.expected_apogee = 0.0f;}
        	// update_mach_number(&filter_data, &aero_msg);
			// After all calculations (drag_update, update_thrust, etc.)
			zbus_chan_pub(&aero_chan, &aero_msg, K_MSEC(10));
		}
        //zbus_chan_pub(&aero_chan, &aero_msg, K_MSEC(10));

        //k_msleep(10); // 100 Hz
    }
}
```

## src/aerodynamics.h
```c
#pragma once

#include <zsl/interp.h>   /* zsl_interp_lin_y_arr() */
#include "filter.h"

typedef struct fjalar fjalar_t;
typedef struct init t;
typedef struct position_filter position_filter_t;
typedef struct attitude_filter attitude_filter_t;
typedef struct state state_t;

typedef struct aerodynamics {
    zsl_real_t drag_data[3]; // acceleration, not force!
    struct zsl_mtx drag; // drag induced acceleration in local frame
    float drag_norm;
    float expected_apogee; // predicted apogee based on drag model
    bool thrust_bool; // true if there is thrust, false if no thrust.
    float g_physics;

    float temperature_kelvin;
    float specific_gas_constant_air;
    float heat_capacity_ratio_air;
    float v_sound;
    float mach_number;
} aerodynamics_t;

void init_aerodynamics(fjalar_t *fjalar);

#ifndef AERODYNAMICS_H
#define AERODYNAMICS_H

// change these values to Freyja values
#define MASS_DRY  3.5 //38 // Freyja
#define GRAVITY 9.81
#define AREA 0.00866 // 0.022 // Freyja

static const struct zsl_interp_xy cd_tbl[] = {
    {3.43, 0.445392077},
    {6.86, 0.443396227},
    {10.29, 0.429917833},
    {13.72, 0.423512584},
    {17.15, 0.420851543},
    {20.58, 0.417786495},
    {24.01, 0.414716498},
    {27.44, 0.411778402},
    {30.87, 0.409014917},
    {34.3, 0.40642762},
    {37.73, 0.404018232},
    {41.16, 0.401769047},
    {44.59, 0.399665926},
    {48.02, 0.397695141},
    {51.45, 0.395843979},
    {54.88, 0.394101055},
    {58.31, 0.392456144},
    {61.74, 0.390900263},
    {65.17, 0.389425391},
    {68.6, 0.388024502},
    {72.03, 0.386691304},
    {75.46, 0.385420273},
    {78.89, 0.38420643},
    {82.32, 0.383045391},
    {85.75, 0.381933173},
    {89.18, 0.381039561},
    {92.61, 0.380188027},
    {96.04, 0.379375709},
    {99.47, 0.378600005},
    {102.9, 0.377858488},
    {106.33, 0.377149034},
    {109.76, 0.376469684},
    {113.19, 0.375818617},
    {116.62, 0.375194204},
    {120.05, 0.374594941},
    {123.48, 0.374019381},
    {126.91, 0.373466277},
    {130.34, 0.372934425},
    {133.77, 0.372422742},
    {137.2, 0.371930191},
    {140.63, 0.371455842},
    {144.06, 0.370998799},
    {147.49, 0.370558256},
    {150.92, 0.37013344},
    {154.35, 0.36972365},
    {157.78, 0.369328181},
    {161.21, 0.368946434},
    {164.64, 0.368577814},
    {168.07, 0.368221762},
    {171.5, 0.367877794},
    {174.93, 0.367545363},
    {178.36, 0.367224045},
    {181.79, 0.366913391},
    {185.22, 0.366612997},
    {188.65, 0.36634992},
    {192.08, 0.366476374},
    {195.51, 0.36660295},
    {198.94, 0.366729602},
    {202.37, 0.366856351},
    {205.8, 0.366983199},
    {209.23, 0.367423765},
    {212.66, 0.367853163},
    {216.09, 0.368282658},
    {219.52, 0.368712249},
    {222.95, 0.369141935},
    {226.38, 0.369571718},
    {229.81, 0.370001595},
    {233.24, 0.370431589},
    {236.67, 0.370861656},
    {240.1, 0.371291839},
    {243.53, 0.371722071},
    {246.96, 0.372152374},
    {250.39, 0.372582704},
    {253.82, 0.373013126},
    {257.25, 0.373443552},
    {260.68, 0.373874026},
    {264.11, 0.374304546},
    {267.54, 0.374735114},
    {270.97, 0.375165728},
    {274.4, 0.375596365},
    {277.83, 0.376027049},
    {281.26, 0.376457756},
    {284.69, 0.376888531},
    {288.12, 0.37731935},
    {291.55, 0.37775017},
    {294.98, 0.378181056},
    {298.41, 0.378611964},
    {301.84, 0.379042915},
    {305.27, 0.379473887},
    {308.7, 0.379904925},
    {312.13, 0.382488278},
    {315.56, 0.390238339},
    {318.99, 0.407904087},
    {322.42, 0.431610494},
    {325.85, 0.4553169},
    {329.28, 0.479023306},
    {332.71, 0.502729713},
    {336.14, 0.526436119},
    {339.57, 0.550142525},
    {343, 0.573848932},
    {346.43, 0.597555338},
    {349.86, 0.621261744},
    {353.29, 0.644968151},
    {356.72, 0.668674557},
    {360.15, 0.692380963},
    {363.58, 0.691060853},
    {367.01, 0.689751285},
    {370.44, 0.68845212},
    {373.87, 0.687163217},
    {377.3, 0.685884435},
    {380.73, 0.684615533},
    {384.16, 0.683356467},
    {387.59, 0.682107195},
    {391.02, 0.680867275},
    {394.45, 0.679636963},
    {397.88, 0.677524215},
    {401.31, 0.675391688},
    {404.74, 0.673272037},
    {408.17, 0.671165119},
    {411.6, 0.669070889},
    {415.03, 0.666989003},
    {418.46, 0.664919516},
    {421.89, 0.662862183},
    {425.32, 0.66081706},
    {428.75, 0.6587839},
    {432.18, 0.656767527},
    {435.61, 0.65477127},
    {439.04, 0.652791393},
    {442.47, 0.650827029}
};

#define CD_N (sizeof(cd_tbl)/sizeof(cd_tbl[0]))

static inline zsl_real_t cd_at(zsl_real_t v)
{
    zsl_real_t cd;
    zsl_interp_lin_y_arr(cd_tbl, CD_N, v, &cd);
    return cd;
}

// air density at altitude, works up to 10 km
static const struct zsl_interp_xy rho_tbl[] = {
    {    0, 1.22500}, {  500, 1.16730}, { 1000, 1.11160}, { 1500, 1.05810},
    { 2000, 1.00640}, { 2500, 0.95710}, { 3000, 0.90990}, { 3500, 0.86460},
    { 4000, 0.82120}, { 4500, 0.77940}, { 5000, 0.73930}, { 5500, 0.70080},
    { 6000, 0.66380}, { 6500, 0.62830}, { 7000, 0.59410}, { 7500, 0.56120},
    { 8000, 0.52950}, { 8500, 0.49890}, { 9000, 0.46920}, { 9500, 0.44060},
    {10000, 0.41310}
};
#define RHO_N   (sizeof(rho_tbl) / sizeof(rho_tbl[0]))

/* ρ(h)   – linear interpolate in the ISA table. */
static inline zsl_real_t air_density_at(zsl_real_t z)
{
    /* Clamp negative altitudes to sea level. */
    if (z < 0.0f) z = 0.0f;

    zsl_real_t rho;
    zsl_interp_lin_y_arr(rho_tbl, RHO_N, z, &rho);
    return rho;
}

#endif /* AERODYNAMICS_H */
```

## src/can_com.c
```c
#include <zephyr/drivers/can.h>
#include <zephyr/kernel.h>
#include <zephyr/logging/log.h>
#include <zephyr/drivers/sensor.h>
#include <math.h>
#include <pla.h>
#include <zephyr/init.h>

#include "fjalar.h"
#include "sensors.h"
#include "init.h"
#include "filter.h"
#include "aerodynamics.h"
#include "flight_state.h"
#include "actuation.h"
#include "can_com.h"

LOG_MODULE_REGISTER(can_com, CONFIG_APP_FLIGHT_LOG_LEVEL);

#define CAN_THREAD_PRIORITY 7
#define CAN_THREAD_STACK_SIZE 4096

#define MATCH_ALL_STD_ID  0x7FFu  // binary 0b11111111111 (must match all 11 bits of identifier)

void can_thread(fjalar_t *fjalar, void *p2, void *p1);

K_THREAD_STACK_DEFINE(can_thread_stack, CAN_THREAD_STACK_SIZE);
struct k_thread can_thread_data;
k_tid_t can_thread_id;

void init_can(fjalar_t *fjalar) {
    can_thread_id = k_thread_create(
		&can_thread_data,
		can_thread_stack,
		K_THREAD_STACK_SIZEOF(can_thread_stack),
		(k_thread_entry_t) can_thread,
		fjalar, NULL, NULL,
		CAN_THREAD_PRIORITY, 0, K_NO_WAIT
	);
	k_thread_name_set(can_thread_id, "can");
}

#if DT_ALIAS_EXISTS(canbus)

static loki_context_t loki_context;
struct can_timing timing;

const struct can_filter filter_rx_loki = {
    .flags = 0,
    .id = 0x6FF,
    .mask = MATCH_ALL_STD_ID
};

/*
const struct can_filter filter_rx_sigurd = {
    .flags = 0, 
    .id = 0x000, // change
    .mask = MATCH_ALL_STD_ID
};
*/

const struct device *const can_dev = DEVICE_DT_GET(DT_ALIAS(canbus));

void can_tx_loki(const struct device *can_dev, state_t *state)
{
    const size_t DLC = 4;
    uint8_t data[DLC];
    int ret;

    // byte 0: high nibble=state, low nibble=substate 
    uint8_t st = (uint8_t)state->flight_state;
    uint8_t ev = (uint8_t)state->flight_event;
    if (st > 0x0F || ev > 0x0F) {
        LOG_ERR("state/event out of range");
    }
    data[0] = (st << 4) | (ev & 0x0F);

    // byte 1: event marker 
    data[1] = (state->flight_event == EVENT_ABOVE_ACS_THRESHOLD) ? 0xAA : 0x55;

    // bytes 2–3: angle ×100 
    float  angle_f = 0.0; // replace with control variable
    if (angle_f < 0.0f || angle_f > 360.0f) {LOG_ERR("angle invalid");}
    uint16_t raw_angle = (uint16_t)roundf(angle_f * 100.0f);
    data[2] = (raw_angle >> 8) & 0xFF;
    data[3] = raw_angle & 0xFF;

    struct can_frame frame = {
        .flags = 0,
        .id    = 0x67F, // 0x67F = Fjalar 1, 0x57F = Fjalar 2 put this as #define in header
        .dlc   = DLC,
    };
    memcpy(frame.data, data, DLC);

    ret = can_send(can_dev, &frame, K_MSEC(100), NULL, NULL);
    if (ret) {
        LOG_ERR("CAN TX Loki failed [%d]", ret);
    }
}

void can_tx_sigurd(state_t *state, const struct device *const can_dev){
    /*
    struct can_frame can_tx_sigurd_frame = {
        .flags = 0,
        .id = 0x123, // change
        .dlc = 8, // change
        .data = {} // change
    };
    
    int ret;
    ret = can_send(can_dev, &can_tx_sigurd_frame, K_MSEC(100), NULL, NULL);
    if (ret != 0) {LOG_ERR("can tx sigurd failed [%d]", ret);}
        
    */

}

void can_rx_loki(const struct device *const can_dev, struct can_frame *frame, void *user_data){
    loki_context_t *context = user_data;
    const uint8_t *data = frame->data;

    if (frame->dlc != 4) {LOG_ERR("Wrong dlc can rx loki");}

    // byte 0: low nibble = state, high nibble = substate
    context->loki_state     =  data[0] & 0x0F;
    context->loki_sub_state = (data[0] >> 4) & 0x0F;

    // bytes 1–2: 16-bit angle, gain=100 
    uint16_t raw_angle = (data[1] << 8) | data[2];
    context->loki_angle    = raw_angle / 100.0f;

    // byte 3: battery, gain=10 
    context->battery_voltage = data[3] / 10.0f;
}

void can_rx_sigurd(const struct device *const can_dev, struct can_frame *frame, void *user_data){
    // stuff
}

// Give privilage to RX callbacks
static int can_cb_priv_init(void){
    int err;
    err = can_add_rx_filter(can_dev, can_rx_loki, &loki_context, &filter_rx_loki);
    if (err < 0) {LOG_ERR("adding loki filter failed: %d", err);}

    //err = can_add_rx_filter(can_dev, can_rx_sigurd, &sigurd_context, &filter_rx_sigurd);
    //if (err < 0) {LOG_ERR("adding sigurd filter failed: %d", err);}
    return 0;
}
SYS_INIT(can_cb_priv_init, POST_KERNEL, CONFIG_KERNEL_INIT_PRIORITY_DEFAULT);

#endif

void can_thread(fjalar_t *fjalar, void *p2, void *p1) {
    init_t            *init  = fjalar->ptr_init;
    position_filter_t *pos_kf = fjalar->ptr_pos_kf;
    attitude_filter_t *att_kf = fjalar->ptr_att_kf;
    aerodynamics_t    *aerodynamics = fjalar->ptr_aerodynamics;
    state_t           *state = fjalar->ptr_state;
    can_t             *can = fjalar->ptr_can;

    #if DT_ALIAS_EXISTS(canbus)
    
    int ret;
    ret = can_set_bitrate_data(can_dev, 500000); // 500 kb/s
    if (ret) {LOG_ERR("Failed to set CAN bitrate: [%d]", ret);}
    else{LOG_INF("CAN bitrate successfully set to 500kb/s");}


    #endif

    while (true) {
        #if DT_ALIAS_EXISTS(canbus)
        //can_tx_loki(can_dev, state);
        //can_tx_sigurd(state, can_dev);
        #endif

        k_msleep(10); // 100 Hz
    }
}
```

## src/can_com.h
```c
#include "fjalar.h"

typedef struct fjalar fjalar_t;
typedef struct init init_t;
typedef struct position_filter position_filter_t;
typedef struct attitude_filter attitude_filter_t;
typedef struct aerodynamics aerodynamics_t;
typedef struct state state_t;

typedef struct can {
    uint8_t  loki_state;
    uint8_t  loki_sub_state;
    float    loki_angle;
    float    battery_voltage;
} can_t;

typedef struct {
    uint8_t  loki_state;
    uint8_t  loki_sub_state;
    float    loki_angle;
    float    battery_voltage;
} loki_context_t;

extern const struct device *const can_dev;

void init_can(fjalar_t *fjalar);
```

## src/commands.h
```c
#pragma once

#include "fjalar.h"
#include <protocol.h>

void handle_fjalar_message(fjalar_message_t *msg, fjalar_t *fjalar, state_t *state, enum com_channels channel);
void handle_fjalar_buf(struct protocol_state *ps, fjalar_t *fjalar, uint8_t buf[], int len, enum com_channels channel);
```
